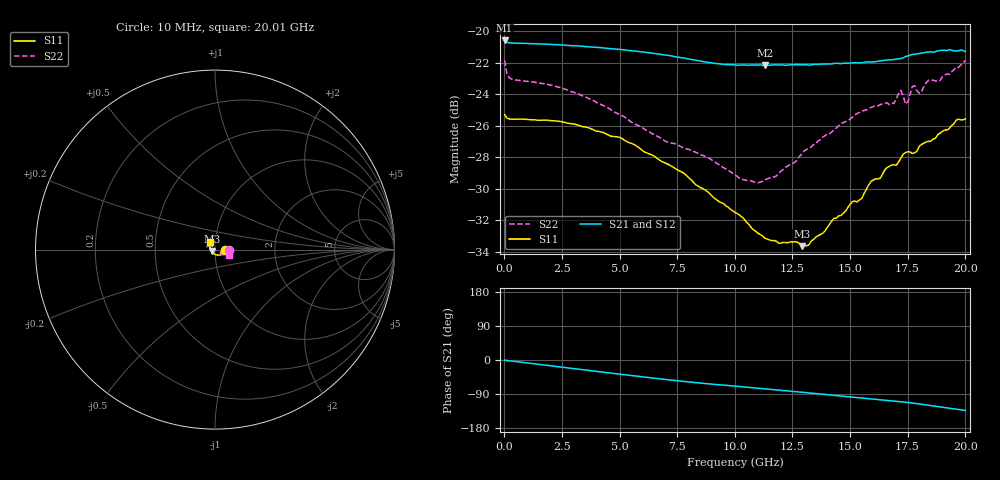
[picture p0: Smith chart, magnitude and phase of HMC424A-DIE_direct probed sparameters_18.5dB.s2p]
!s2p File: Measurements: S11, S21, S12, S22
# GHz S dB R 50.0
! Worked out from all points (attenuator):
!   201 points, 10 MHz to 20.01 GHz, reference 50 ohm
!   highest |S21| = -20.58 dB at 10 MHz (marker M1); lowest = -22.2 dB at 11.31 GHz (marker M2)
!   lowest |S11| = -33.6 dB at 12.91 GHz (marker M3), VSWR 1.04, Z = 48.2 - j0.894 ohm
!   |S11| at or under -10 dB: start of sweep to end of sweep
!   |S22| runs from -29.6 to -21.9 dB; largest |S21 - S12| = 0.00087
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0.01  -25.29 -0.2  -20.58 -0.3  -20.56 -0.4  -21.85 -1.8
0.11  -25.51 -1.6  -20.69 -1.4  -20.69 -1.4  -22.70 -4.3
0.31  -25.58 -2.4  -20.74 -2.7  -20.74 -2.6  -23.02 -4.2
3.41  -26.06 -23.6  -20.95 -25.7  -20.95 -25.7  -24.11 -24.1
5.01  -26.74 -36.6  -21.15 -37.4  -21.15 -37.4  -25.29 -32.0
6.71  -28.15 -51.1  -21.45 -49.4  -21.45 -49.4  -26.72 -35.2
10.01  -31.51 -90.7  -22.13 -68.9  -22.13 -68.8  -29.12 -32.5
11.31  -33.15 -116.1  -22.16 -75.8  -22.14 -75.9  -29.44 -19.8
12.91  -33.65 -153.5  -22.12 -85.1  -22.11 -85.1  -27.81 -10.4
13.41  -33.23 -165.4  -22.11 -87.9  -22.11 -87.8  -27.20 -9.7
15.11  -30.82 162.9  -22.00 -98.0  -22.00 -98.0  -25.45 -12.0
15.51  -30.62 156.8  -21.99 -100.3  -21.97 -100.2  -25.05 -13.4
15.91  -29.54 150.6  -21.95 -102.8  -21.95 -102.7  -24.84 -14.5
16.71  -28.58 140.6  -21.81 -107.4  -21.78 -107.4  -24.66 -16.9
16.91  -28.48 138.2  -21.79 -108.5  -21.73 -108.5  -24.58 -15.5
17.21  -28.06 138.6  -21.72 -110.2  -21.66 -110.5  -23.76 -18.8
17.41  -27.71 135.7  -21.61 -111.3  -21.62 -111.7  -24.62 -19.4
17.71  -27.76 131.9  -21.46 -113.6  -21.50 -113.8  -23.51 -16.1
18.01  -27.30 130.6  -21.41 -116.1  -21.45 -116.0  -23.94 -18.1
18.41  -26.99 126.2  -21.32 -119.2  -21.34 -119.2  -23.11 -17.9
18.91  -26.47 125.4  -21.22 -123.5  -21.22 -123.3  -23.12 -18.0
20.01  -25.56 124.1  -21.28 -133.3  -21.25 -133.3  -21.85 -20.8
